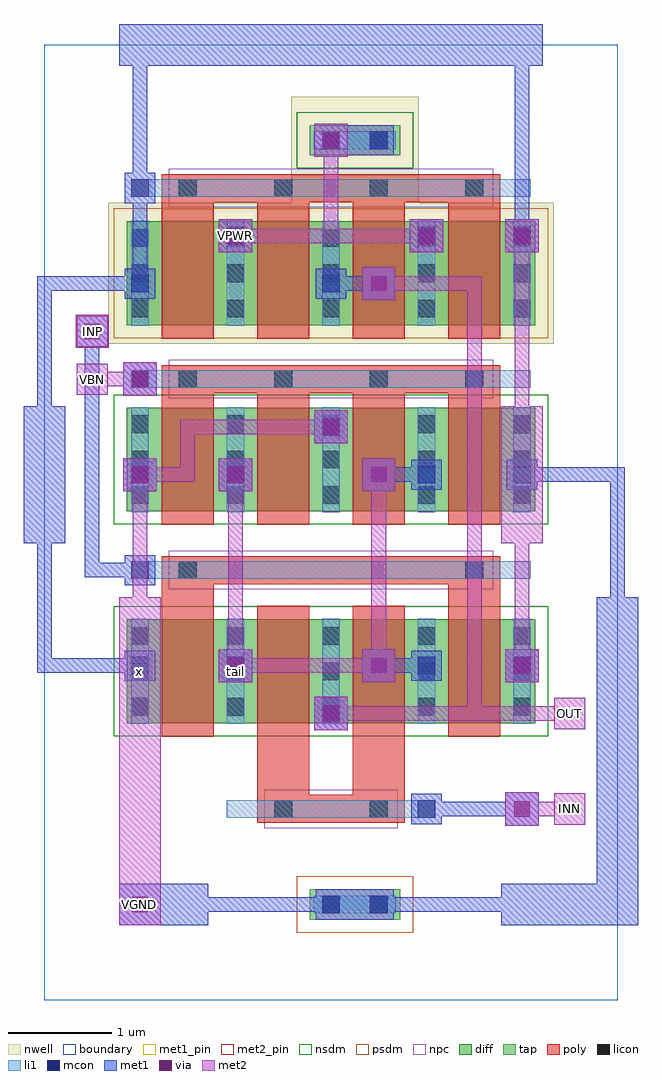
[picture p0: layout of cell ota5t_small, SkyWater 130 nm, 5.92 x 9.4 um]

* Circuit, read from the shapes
.subckt ota5t_small INN INP OUT VBN VGND VPWR tail x
XM1 tail INP x VGND sky130_fd_pr__nfet_01v8 w=1 l=0.5 m=2
XM2 tail VBN VGND VGND sky130_fd_pr__nfet_01v8 w=1 l=0.5 m=4
XM3 OUT INN tail VGND sky130_fd_pr__nfet_01v8 w=1 l=0.5 m=2
XM4 VPWR x x VPWR sky130_fd_pr__pfet_01v8 w=1 l=0.5 m=2
XM5 OUT x VPWR VPWR sky130_fd_pr__pfet_01v8 w=1 l=0.5 m=2
.ends

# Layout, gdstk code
import gdstk
lib = gdstk.Library(unit=1e-6, precision=1e-09)
def R(c, l, rs):  # rectangles x0, y0, x1, y1
    for r in rs: c.add(gdstk.rectangle(r[:2], r[2:], *l))
def A(c, l, x, y, w, h, nx, ny, dx, dy):  # array of equal rectangles
    R(c, l, [(x+i*dx, y+j*dy, x+i*dx+w, y+j*dy+h) for i in range(nx) for j in range(ny)])
nwell = (64, 20)
diff = (65, 20)
tap = (65, 44)
poly = (66, 20)
licon = (66, 44)
li1 = (67, 20)
mcon = (67, 44)
met1_pin = (68, 16)
met1 = (68, 20)
via = (68, 44)
met2_pin = (69, 16)
met2 = (69, 20)
nsdm = (93, 44)
psdm = (94, 20)
npc = (95, 20)
boundary = (235, 4)

ota5t_small = lib.new_cell('ota5t_small')
R(ota5t_small, nwell, [(0.615,6.32,4.905,7.68), (2.375,7.68,3.605,8.7)])
R(ota5t_small, diff, [(0.795,2.665,4.725,3.665), (0.795,4.705,4.725,5.705), (0.795,6.5,4.725,7.5)])
R(ota5t_small, tap, [(2.555,0.775,3.425,1.065), (2.555,8.135,3.425,8.425)])
A(ota5t_small, poly, 1.13, 4.005, 3.26, 0.27, 1, 3, 0, 1.84)
A(ota5t_small, poly, 1.13, 4.575, 0.5, 1.405, 4, 1, 0.92, 0)
A(ota5t_small, poly, 1.13, 6.37, 0.5, 1.45, 4, 1, 0.92, 0)
R(ota5t_small, poly, [(2.05,1.705,3.47,1.975), (2.05,1.84,2.55,3.795), (2.97,1.84,3.47,3.795), (1.13,2.535,1.63,4.14), (3.89,2.535,4.39,4.14)])
A(ota5t_small, licon, 0.835, 2.74, 0.17, 0.17, 5, 3, 0.92, 0.34)
A(ota5t_small, licon, 0.835, 4.78, 0.17, 0.17, 5, 3, 0.92, 0.34)
A(ota5t_small, licon, 1.295, 5.895, 0.17, 0.17, 4, 2, 0.92, 1.84)
A(ota5t_small, licon, 0.835, 6.575, 0.17, 0.17, 5, 3, 0.92, 0.34)
R(ota5t_small, licon, [(2.675,0.835,2.845,1.005), (3.135,0.835,3.305,1.005), (2.215,1.755,2.385,1.925), (3.135,1.755,3.305,1.925), (1.295,4.055,1.465,4.225), (4.055,4.055,4.225,4.225), (2.675,8.195,2.845,8.365), (3.135,8.195,3.305,8.365)])
A(ota5t_small, li1, 0.835, 2.66, 0.17, 1.01, 5, 2, 0.92, 2.04)
A(ota5t_small, li1, 0.835, 4.055, 3.85, 0.17, 1, 3, 0, 1.84)
A(ota5t_small, li1, 0.835, 6.495, 0.17, 1.01, 5, 1, 0.92, 0)
R(ota5t_small, li1, [(2.595,0.835,3.385,1.005), (1.755,1.755,3.765,1.925), (2.595,8.195,3.385,8.365)])
A(ota5t_small, mcon, 0.835, 3.135, 0.17, 0.17, 1, 6, 0, 0.92)
A(ota5t_small, mcon, 2.675, 5.435, 0.17, 0.17, 1, 3, 0, 1.38)
R(ota5t_small, mcon, [(2.675,0.835,2.845,1.005), (3.135,0.835,3.305,1.005), (3.595,1.755,3.765,1.925), (2.675,2.675,2.845,2.845), (1.755,3.135,1.925,3.305), (3.595,3.135,3.765,3.305), (4.515,3.135,4.685,3.305), (1.755,4.975,1.925,5.145), (3.595,4.975,3.765,5.145), (4.515,4.975,4.685,5.145), (1.755,7.275,1.925,7.445), (3.595,7.275,3.765,7.445), (4.515,7.275,4.685,7.445), (3.135,8.195,3.305,8.365)])
R(ota5t_small, met1_pin, [(0.72,0.72,1.12,1.12), (1.695,7.215,1.985,7.505)])
A(ota5t_small, met1, 2.6, 2.6, 0.32, 0.32, 1, 3, 0, 2.76)
A(ota5t_small, met1, 1.68, 3.06, 0.32, 0.32, 3, 1, 1.38, 0)
A(ota5t_small, met1, 0.775, 3.075, 0.29, 0.29, 1, 6, 0, 0.92)
R(ota5t_small, met1, [(0.72,0.72,1.58,1.12), (0.72,0.72,1.12,1.12), (4.4,0.72,5.72,1.12), (5.32,0.72,5.72,3.88), (2.615,0.775,3.365,1.065), (1.31,0.85,3.29,0.99), (3.15,0.85,3.29,0.99), (3.15,0.85,4.67,0.99), (4.44,1.68,4.76,2), (3.535,1.695,3.825,1.985), (3.61,1.77,4.67,1.91), (2.615,2.615,2.905,2.905), (1.695,3.075,1.985,3.365), (3.535,3.075,3.825,3.365), (4.455,3.075,4.745,3.365), (-0.07,3.15,0.99,3.29), (-0.07,3.15,0.07,4.67), (3.15,3.15,3.75,3.29), (5.45,3.61,5.59,5.13), (0.39,4.07,0.99,4.21), (0.39,4.07,0.53,6.51), (-0.2,4.4,0.2,5.72), (0.76,4.9,1.08,5.22), (1.68,4.9,2,5.22), (3.06,4.9,3.38,5.22), (1.695,4.915,1.985,5.205), (3.535,4.915,3.825,5.205), (4.455,4.915,4.745,5.205), (3.15,4.99,3.75,5.13), (4.53,4.99,5.59,5.13), (2.615,5.375,2.905,5.665), (-0.07,5.45,0.07,6.97), (0.76,5.82,1.08,6.14), (0.3,6.28,0.62,6.6), (3.06,6.74,3.38,7.06), (2.615,6.755,2.905,7.045), (-0.07,6.83,0.99,6.97), (0.85,6.83,0.99,7.89), (2.69,6.83,3.29,6.97), (1.68,7.2,2,7.52), (3.52,7.2,3.84,7.52), (4.44,7.2,4.76,7.52), (1.695,7.215,1.985,7.505), (3.535,7.215,3.825,7.505), (4.455,7.215,4.745,7.505), (4.53,7.29,4.67,9.27), (0.85,7.75,0.99,9.27), (2.615,8.135,3.365,8.425), (2.69,8.21,2.83,8.35), (0.72,9,4.8,9.4)])
A(ota5t_small, via, 2.685, 2.685, 0.15, 0.15, 1, 3, 0, 2.76)
A(ota5t_small, via, 1.765, 3.145, 0.15, 0.15, 3, 1, 1.38, 0)
R(ota5t_small, via, [(0.845,0.845,0.995,0.995), (4.525,1.765,4.675,1.915), (0.845,4.985,0.995,5.135), (1.765,4.985,1.915,5.135), (3.145,4.985,3.295,5.135), (0.845,5.905,0.995,6.055), (0.385,6.365,0.535,6.515), (3.145,6.825,3.295,6.975), (1.765,7.285,1.915,7.435), (3.605,7.285,3.755,7.435), (4.525,7.285,4.675,7.435)])
R(ota5t_small, met2_pin, [(4.91,1.69,5.21,1.99), (4.91,2.61,5.21,2.91), (0.31,5.83,0.61,6.13), (0.31,6.29,0.61,6.59)])
A(ota5t_small, met2, 2.6, 2.6, 0.32, 0.32, 1, 3, 0, 2.76)
A(ota5t_small, met2, 1.68, 3.06, 0.32, 0.32, 3, 1, 1.38, 0)
R(ota5t_small, met2, [(0.72,0.72,1.12,1.12), (0.72,0.72,1.12,3.88), (4.44,1.68,4.76,2), (4.91,1.69,5.21,1.99), (4.53,1.77,5.13,1.91), (4.99,1.77,5.13,1.91), (4.91,2.61,5.21,2.91), (2.69,2.69,5.13,2.83), (4.07,2.69,4.21,6.97), (4.99,2.69,5.13,2.83), (1.77,3.15,1.91,5.13), (1.77,3.15,3.29,3.29), (3.15,3.15,3.29,5.13), (4.53,3.15,4.67,4.67), (0.85,3.61,0.99,5.13), (4.4,4.4,4.8,5.72), (0.76,4.9,1.08,5.22), (1.68,4.9,2,5.22), (3.06,4.9,3.38,5.22), (0.85,4.99,1.45,5.13), (1.31,4.99,1.45,5.59), (1.31,5.45,2.83,5.59), (4.53,5.45,4.67,7.43), (0.76,5.82,1.08,6.14), (0.31,5.83,0.61,6.13), (0.39,5.91,0.53,6.05), (0.39,5.91,0.99,6.05), (0.3,6.28,0.62,6.6), (0.31,6.29,0.61,6.59), (0.39,6.37,0.53,6.51), (3.06,6.74,3.38,7.06), (3.15,6.83,4.21,6.97), (1.68,7.2,2,7.52), (3.52,7.2,3.84,7.52), (4.44,7.2,4.76,7.52), (1.77,7.29,2.83,7.43), (2.69,7.29,3.75,7.43), (2.69,7.29,2.83,8.35)])
R(ota5t_small, nsdm, [(0.67,2.54,4.85,3.79), (0.67,4.58,4.85,5.83), (2.43,8.01,3.55,8.55)])
R(ota5t_small, psdm, [(2.43,0.65,3.55,1.19), (0.67,6.375,4.85,7.625)])
A(ota5t_small, npc, 1.195, 3.955, 3.13, 0.37, 1, 3, 0, 1.84)
R(ota5t_small, npc, [(2.115,1.655,3.405,2.025)])
R(ota5t_small, boundary, [(0,0,5.52,9.2)])
ota5t_small.add(gdstk.Label('x', (0.92,3.165), layer=67, texttype=5))
ota5t_small.add(gdstk.Label('tail', (1.84,3.165), layer=67, texttype=5))
ota5t_small.add(gdstk.Label('VPWR', (1.84,7.36), layer=68, texttype=5))
ota5t_small.add(gdstk.Label('VGND', (0.92,0.92), layer=68, texttype=5))
ota5t_small.add(gdstk.Label('INP', (0.46,6.44), layer=69, texttype=5))
ota5t_small.add(gdstk.Label('INN', (5.06,1.84), layer=69, texttype=5))
ota5t_small.add(gdstk.Label('VBN', (0.46,5.98), layer=69, texttype=5))
ota5t_small.add(gdstk.Label('OUT', (5.06,2.76), layer=69, texttype=5))
ota5t_small.add(gdstk.Label('VPWR', (1.84,7.36), layer=68, texttype=16))
ota5t_small.add(gdstk.Label('VGND', (0.92,0.92), layer=68, texttype=16))
ota5t_small.add(gdstk.Label('INP', (0.46,6.44), layer=69, texttype=16))
ota5t_small.add(gdstk.Label('INN', (5.06,1.84), layer=69, texttype=16))
ota5t_small.add(gdstk.Label('VBN', (0.46,5.98), layer=69, texttype=16))
ota5t_small.add(gdstk.Label('OUT', (5.06,2.76), layer=69, texttype=16))

lib.write_gds('ota5t_small.gds')
